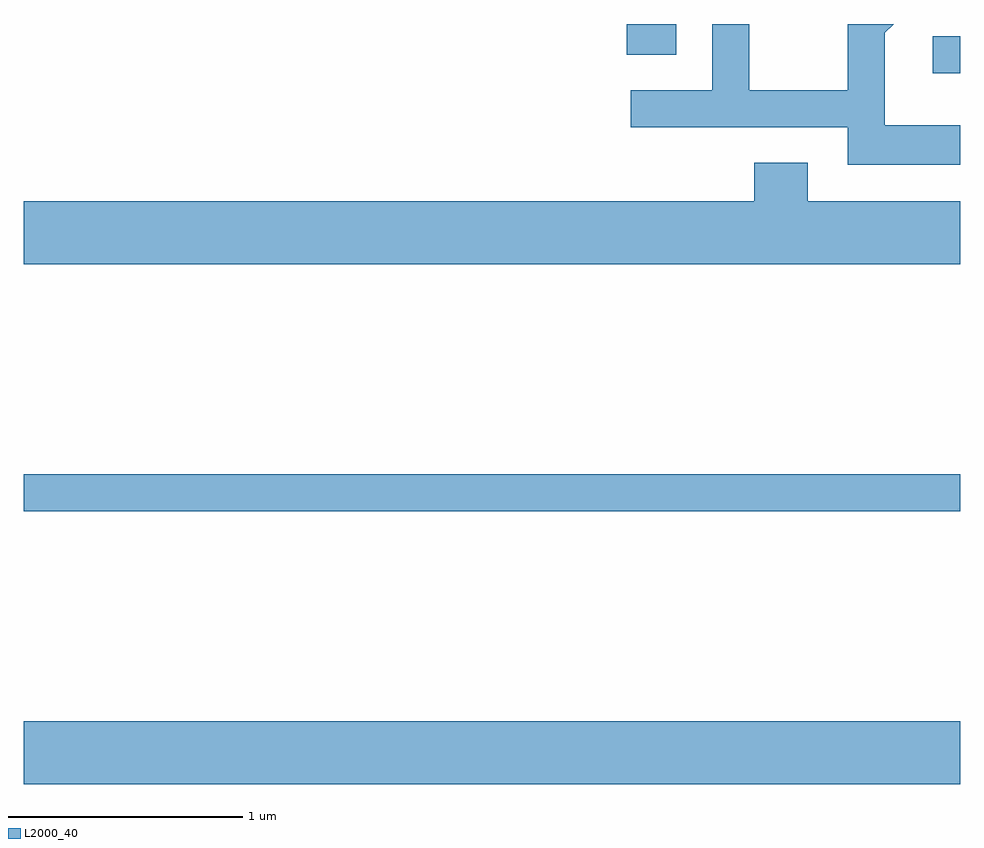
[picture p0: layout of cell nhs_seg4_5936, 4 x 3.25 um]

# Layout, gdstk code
import gdstk
lib = gdstk.Library(unit=1e-6, precision=1e-09)
def R(c, l, rs):  # rectangles x0, y0, x1, y1
    for r in rs: c.add(gdstk.rectangle(r[:2], r[2:], *l))
def P(c, l, *ps):  # polygons
    for p in ps: c.add(gdstk.Polygon(p, *l))
L2000_40 = (2000, 40)

nhs_seg4_5936 = lib.new_cell('nhs_seg4_5936')
R(nhs_seg4_5936, L2000_40, [(359.611,1294.736,363.611,1295.004), (359.611,1295.901,363.611,1296.059), (363.493,1297.771,363.611,1297.929), (362.186,1297.851,362.399,1297.982)])
P(nhs_seg4_5936, L2000_40, [(363.611,1297.549),(363.289,1297.549),(363.289,1297.944),(363.327,1297.982),(363.131,1297.982),(363.131,1297.699),(362.709,1297.699),(362.709,1297.982),(362.551,1297.982),(362.551,1297.699),(362.203,1297.699),(362.203,1297.541),(363.131,1297.541),(363.131,1297.381),(363.611,1297.381)],
  [(363.611,1297.224),(362.959,1297.224),(362.959,1297.389),(362.731,1297.389),(362.731,1297.224),(359.611,1297.224),(359.611,1296.956),(363.611,1296.956)])

lib.write_gds('nhs_seg4_5936.gds')
